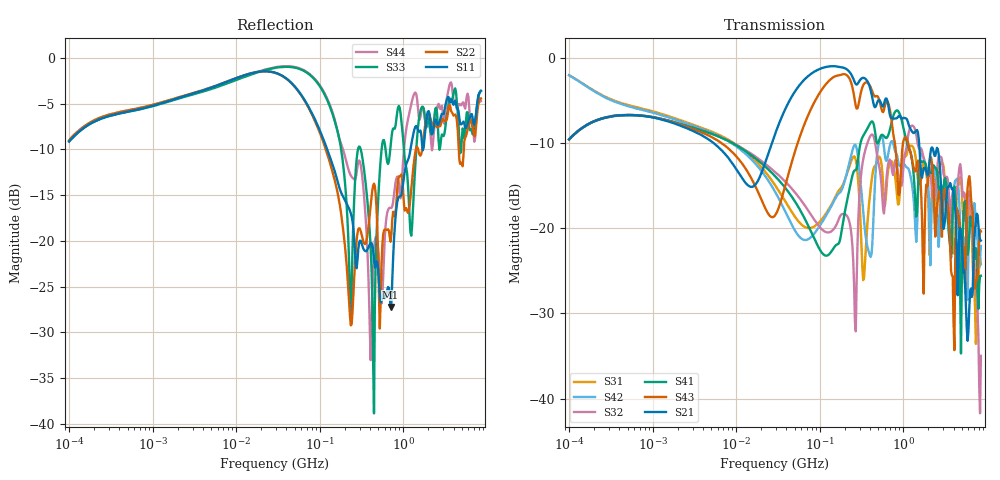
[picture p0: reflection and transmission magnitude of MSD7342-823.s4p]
# MHz S MA R 50
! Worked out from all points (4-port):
!   498 points, 100 kHz to 8.5 GHz, reference 50 ohm
!   strongest paths, dB at 100 kHz, 1.698 MHz, 29.49 MHz, 500.7 MHz, 8.5 GHz:
!     S21: -9.5, -7.6, -8.8, -5.0, -21.4
!     S43: -9.5, -7.5, -18.4, -4.6, -20.4
!     S41: -9.6, -7.5, -13.9, -10.0, -25.6
!     S32: -9.6, -7.4, -13.4, -12.2, -35.0
!     S42: -2.0, -7.1, -15.8, -10.4, -22.1
!     S31: -2.0, -7.0, -15.0, -11.7, -24.2
!   lowest |S11| = -27.2 dB at 705.2 MHz (marker M1), VSWR 1.09, Z = 46 - j1.04 ohm
!   |S11| at or under -10 dB: 123 MHz to 1.22 GHz (1.097 GHz wide, 163 % of centre); 1.713 GHz to 1.729 GHz (15.54 MHz wide, 0.903 % of centre)
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0.1  0.3491 46.1  0.3331 44.6  0.793 -18.6  0.3322 -135.8
     0.3331 44.6  0.354 46.2  0.3325 -135.8  0.7922 -19.0
     0.793 -18.6  0.3325 -135.8  0.3501 46.2  0.3339 44.4
     0.3322 -135.8  0.7922 -19.0  0.3339 44.4  0.3548 46.0
159.8183  0.2204 -94.2  0.8918 -23.9  0.1587 65.1  0.08018 46.4
          0.8918 -23.9  0.1928 -116.4  0.1058 17.8  0.1548 53.8
          0.1587 65.1  0.1058 17.8  0.4131 -93.9  0.7868 -10.5
          0.08018 46.4  0.1548 53.8  0.7868 -10.5  0.4165 -91.0
436.5497  0.08819 -120.5  0.5513 -94.6  0.219 -2.3  0.4174 -33.2
          0.5513 -94.6  0.2008 -43.8  0.3511 -37.0  0.1044 22.2
          0.219 -2.3  0.3511 -37.0  0.0211 -115.4  0.6163 -91.1
          0.4174 -33.2  0.1044 22.2  0.6163 -91.1  0.06958 -56.9
705.2109  0.0435 -164.9  0.4482 -131.5  0.245 -71.6  0.3942 -75.5
          0.4482 -131.5  0.09879 -52.8  0.2481 -77.8  0.317 -83.3
          0.245 -71.6  0.2481 -77.8  0.3294 -59.4  0.4703 -156.3
          0.3942 -75.5  0.317 -83.3  0.4703 -156.3  0.1515 -30.3
2776.003  0.4625 8.0  0.2128 -78.3  0.2365 -16.9  0.173 -46.3
          0.2128 -78.3  0.424 2.4  0.2631 -29.3  0.1297 -24.8
          0.2365 -16.9  0.2631 -29.3  0.3288 -3.2  0.151 -42.2
          0.173 -46.3  0.1297 -24.8  0.151 -42.2  0.5258 -8.7
4092.906  0.5761 -171.2  0.142 118.3  0.08025 175.8  0.1762 143.5
          0.142 118.3  0.4877 -171.9  0.167 150.9  0.1806 146.7
          0.08025 175.8  0.167 150.9  0.6701 -173.8  0.01926 -51.6
          0.1762 143.5  0.1806 146.7  0.01926 -51.6  0.5689 176.5
8500  0.6619 -58.2  0.08469 31.6  0.06153 -14.4  0.05267 -37.5
      0.08469 31.6  0.6005 -68.6  0.01783 28.8  0.07885 -63.8
      0.06153 -14.4  0.01783 28.8  0.6604 -60.5  0.09577 19.4
      0.05267 -37.5  0.07885 -63.8  0.09577 19.4  0.5805 -85.4
